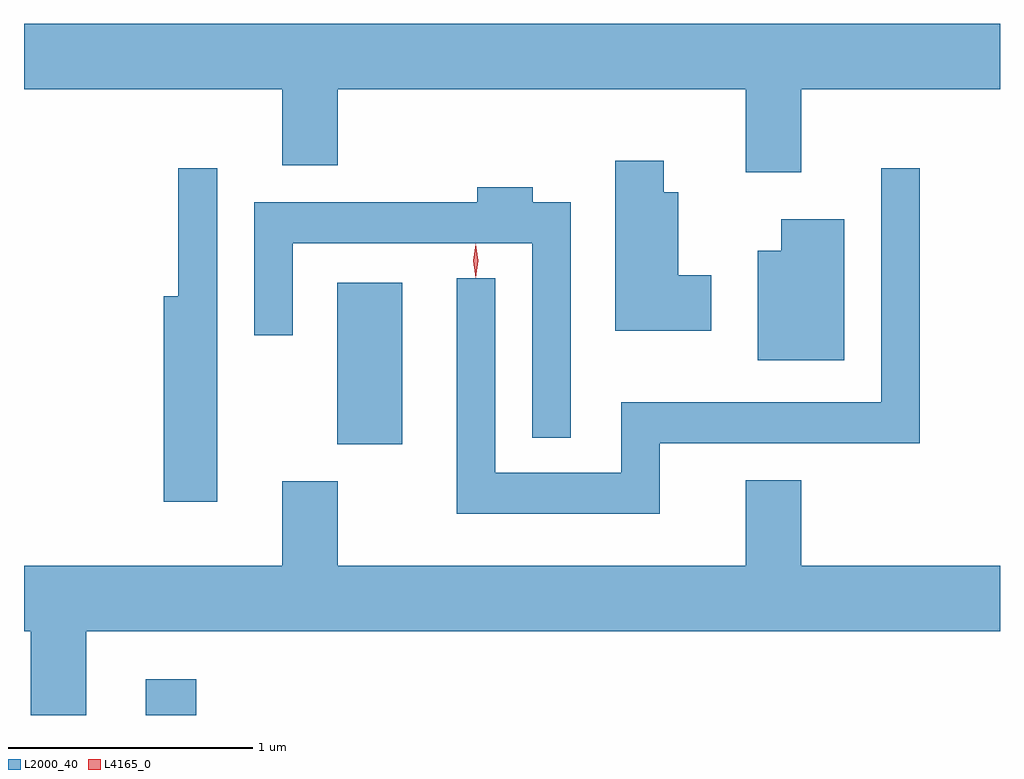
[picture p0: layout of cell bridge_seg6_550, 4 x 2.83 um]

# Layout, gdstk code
import gdstk
lib = gdstk.Library(unit=1e-6, precision=1e-09)
def R(c, l, rs):  # rectangles x0, y0, x1, y1
    for r in rs: c.add(gdstk.rectangle(r[:2], r[2:], *l))
def P(c, l, *ps):  # polygons
    for p in ps: c.add(gdstk.Polygon(p, *l))
L2000_40 = (2000, 40)
L4165_0 = (4165, 0)

bridge_seg6_550 = lib.new_cell('bridge_seg6_550')
R(bridge_seg6_550, L2000_40, [(410.951,1665.132,411.159,1665.279), (411.736,1666.241,412.004,1666.904)])
P(bridge_seg6_550, L2000_40, [(413.639,1667.696),(414.453,1667.696),(414.453,1667.964),(410.453,1667.964),(410.453,1667.696),(411.511,1667.696),(411.511,1667.386),(411.739,1667.386),(411.739,1667.696),(413.411,1667.696),(413.411,1667.356),(413.639,1667.356)],
  [(413.269,1666.934),(413.134,1666.934),(413.134,1667.274),(413.074,1667.274),(413.074,1667.404),(412.876,1667.404),(412.876,1666.706),(413.269,1666.706)],
  [(411.244,1667.373),(411.086,1667.373),(411.086,1666.849),(411.026,1666.849),(411.026,1666.006),(411.244,1666.006)],
  [(413.059,1666.246),(414.124,1666.246),(414.124,1667.373),(413.966,1667.373),(413.966,1666.414),(412.901,1666.414),(412.901,1666.124),(412.384,1666.124),(412.384,1666.923),(412.226,1666.923),(412.226,1665.956),(413.059,1665.956)],
  [(412.694,1667.234),(412.539,1667.234),(412.539,1667.294),(412.311,1667.294),(412.311,1667.234),(411.396,1667.234),(411.396,1666.688),(411.554,1666.688),(411.554,1667.066),(412.536,1667.066),(412.536,1666.268),(412.694,1666.268)],
  [(413.814,1667.164),(413.556,1667.164),(413.556,1667.034),(413.461,1667.034),(413.461,1666.586),(413.814,1666.586)],
  [(410.709,1665.476),(414.453,1665.476),(414.453,1665.744),(413.639,1665.744),(413.639,1666.094),(413.411,1666.094),(413.411,1665.744),(411.739,1665.744),(411.739,1666.089),(411.511,1666.089),(411.511,1665.744),(410.453,1665.744),(410.453,1665.476),(410.481,1665.476),(410.481,1665.132),(410.709,1665.132)])
P(bridge_seg6_550, L4165_0, [(412.304,1666.927),(412.295,1666.994),(412.304,1667.06),(412.305,1667.06),(412.305,1667.06),(412.315,1666.994),(412.305,1666.927),(412.305,1666.927)],
  [(412.304,1666.924),(412.295,1666.993),(412.304,1667.062),(412.305,1667.063),(412.305,1667.062),(412.315,1666.993),(412.305,1666.924),(412.305,1666.924)])

lib.write_gds('bridge_seg6_550.gds')
